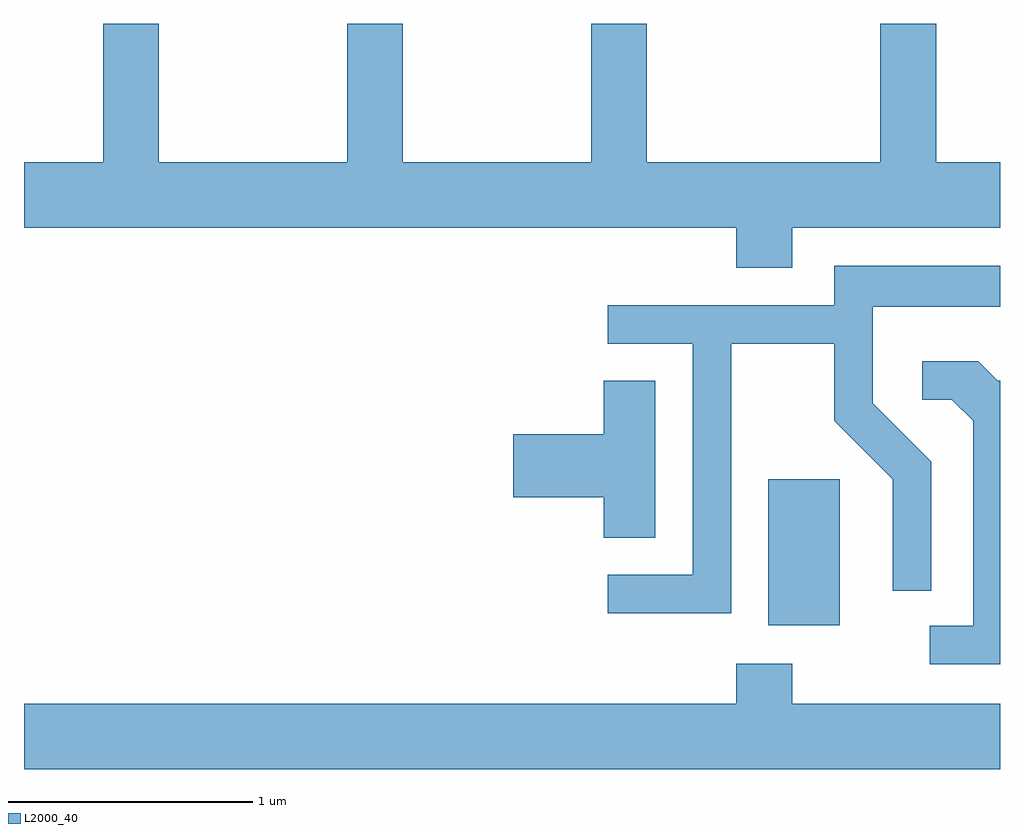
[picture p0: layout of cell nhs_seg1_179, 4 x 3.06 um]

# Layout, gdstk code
import gdstk
lib = gdstk.Library(unit=1e-6, precision=1e-09)
def R(c, l, rs):  # rectangles x0, y0, x1, y1
    for r in rs: c.add(gdstk.rectangle(r[:2], r[2:], *l))
def P(c, l, *ps):  # polygons
    for p in ps: c.add(gdstk.Polygon(p, *l))
L2000_40 = (2000, 40)

nhs_seg1_179 = lib.new_cell('nhs_seg1_179')
R(nhs_seg1_179, L2000_40, [(192.661,931.246,192.954,931.844)])
P(nhs_seg1_179, L2000_40, [(192.759,932.876),(193.611,932.876),(193.611,933.144),(193.349,933.144),(193.349,933.712),(193.121,933.712),(193.121,933.144),(192.164,933.144),(192.164,933.712),(191.936,933.712),(191.936,933.144),(191.164,933.144),(191.164,933.712),(190.936,933.712),(190.936,933.144),(190.164,933.144),(190.164,933.712),(189.936,933.712),(189.936,933.144),(189.611,933.144),(189.611,932.876),(192.531,932.876),(192.531,932.711),(192.759,932.711)],
  [(192.509,932.401),(192.931,932.401),(192.931,932.084),(193.171,931.844),(193.171,931.388),(193.329,931.388),(193.329,931.917),(193.089,932.157),(193.089,932.551),(193.611,932.551),(193.611,932.719),(192.931,932.719),(192.931,932.559),(192.003,932.559),(192.003,932.401),(192.351,932.401),(192.351,931.454),(192.003,931.454),(192.003,931.296),(192.509,931.296)],
  [(193.611,932.249),(193.602,932.249),(193.522,932.329),(193.293,932.329),(193.293,932.171),(193.414,932.171),(193.501,932.084),(193.501,931.244),(193.323,931.244),(193.323,931.086),(193.611,931.086)],
  [(192.199,932.249),(191.986,932.249),(191.986,932.029),(191.616,932.029),(191.616,931.771),(191.986,931.771),(191.986,931.606),(192.199,931.606)],
  [(193.611,930.924),(192.759,930.924),(192.759,931.089),(192.531,931.089),(192.531,930.924),(189.611,930.924),(189.611,930.656),(193.611,930.656)])

lib.write_gds('nhs_seg1_179.gds')
